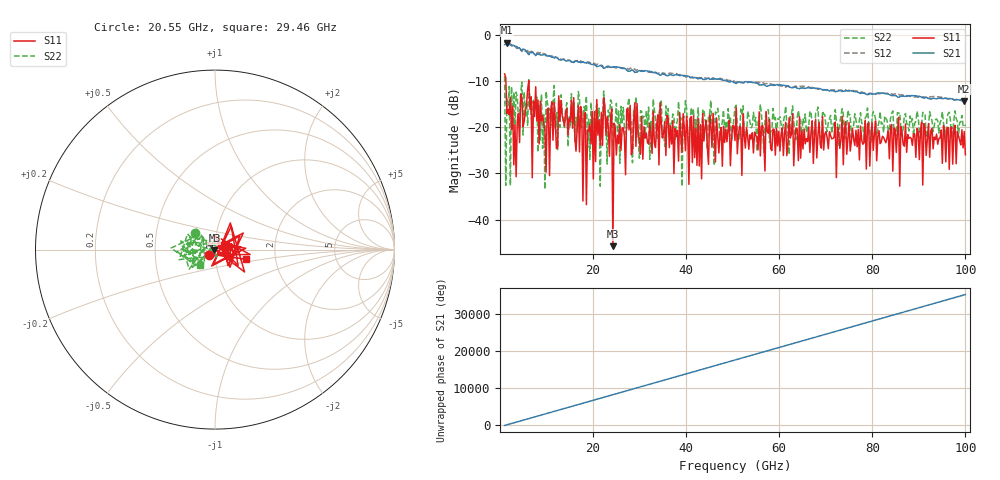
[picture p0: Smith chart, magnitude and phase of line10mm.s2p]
!Created with skrf (http://scikit-rf.org).
# GHz S RI R 50.0
!freq ReS11 ImS11 ReS21 ImS21 ReS12 ImS12 ReS22 ImS22
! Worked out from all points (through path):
!   401 points, 1 GHz to 100 GHz, reference 50 ohm
!   highest |S21| = -1.76 dB at 1.495 GHz (marker M1); lowest = -14.3 dB at 99.75 GHz (marker M2)
!   lowest |S11| = -45.7 dB at 24.27 GHz (marker M3), VSWR 1.01, Z = 49.7 - j0.401 ohm
!   |S11| at or under -10 dB: 1.27 GHz to 6.195 GHz (4.925 GHz wide, 132 % of centre); 6.198 GHz to end of sweep
!   |S22| runs from -33.5 to -9.1 dB; largest |S21 - S12| = 0.083
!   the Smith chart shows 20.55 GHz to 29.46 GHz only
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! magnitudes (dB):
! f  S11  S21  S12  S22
! 1 GHz  -8.5  -2.2  -1.8  -9.1
! 1.495 GHz  -17.1  -1.8  -1.7  -13.9
! 1.742 GHz  -16.2  -1.9  -1.9  -15.5
! 2.98 GHz  -28.2  -2.4  -2.6  -12.4
! 6.197 GHz  -10.0  -4.4  -4.2  -9.7
! 6.94 GHz  -31.0  -3.8  -3.8  -19.9
! 9.168 GHz  -17.5  -4.4  -4.1  -24.6
! 10.4 GHz  -15.9  -4.7  -4.4  -16.2
! 13.13 GHz  -14.2  -5.5  -5.5  -13.0
! 17.58 GHz  -16.7  -6.0  -5.9  -20.0
! 18.32 GHz  -16.9  -6.1  -5.9  -16.8
! 19.32 GHz  -19.4  -6.3  -6.0  -27.0
! 22.78 GHz  -21.8  -7.0  -6.8  -17.9
! 24.27 GHz  -45.7  -7.0  -7.0  -24.1
! 34.16 GHz  -28.2  -8.6  -8.3  -17.3
! 42.83 GHz  -28.4  -9.5  -9.3  -20.4
! 44.06 GHz  -20.1  -9.7  -9.3  -18.4
! 50.5 GHz  -22.9  -10.5  -10.3  -15.7
! 67.08 GHz  -18.7  -11.6  -11.4  -19.6
! 83.67 GHz  -26.8  -13.0  -12.8  -20.7
! 99.75 GHz  -21.0  -14.3  -14.1  -20.0
! 100 GHz  -26.0  -14.3  -14.1  -19.5
